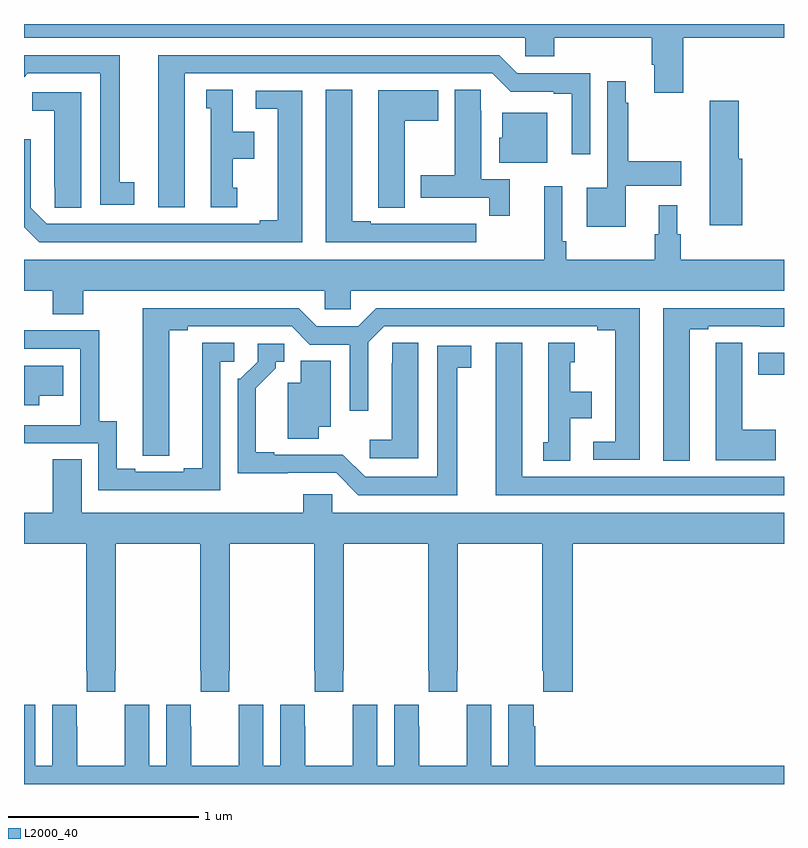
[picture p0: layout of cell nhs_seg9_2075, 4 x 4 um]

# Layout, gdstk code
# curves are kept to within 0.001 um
import gdstk
lib = gdstk.Library(unit=1e-6, precision=1e-09)
def R(c, l, rs):  # rectangles x0, y0, x1, y1
    for r in rs: c.add(gdstk.rectangle(r[:2], r[2:], *l))
def P(c, l, *ps):  # polygons
    for p in ps: c.add(gdstk.Polygon(p, *l))
L2000_40 = (2000, 40)

nhs_seg9_2075 = lib.new_cell('nhs_seg9_2075')
R(nhs_seg9_2075, L2000_40, [(232.865,1186.654,233,1186.77)])
P(nhs_seg9_2075, L2000_40, [(232.469,1188.428),(233,1188.428),(233,1188.5),(229,1188.5),(229,1188.428),(231.639,1188.428),(231.639,1188.33),(231.791,1188.33),(231.791,1188.428),(232.304,1188.428),(232.304,1188.286),(232.316,1188.286),(232.316,1188.138),(232.469,1188.138)],
  [(229.846,1188.24),(231.465,1188.24),(231.561,1188.144),(231.788,1188.144),(231.788,1188.132),(231.884,1188.132),(231.884,1187.814),(231.981,1187.814),(231.981,1188.24),(231.597,1188.24),(231.501,1188.336),(229.706,1188.336),(229.706,1187.535),(229.846,1187.535)],
  [(229.579,1187.666),(229.504,1187.666),(229.504,1188.336),(229,1188.336),(229,1188.22),(229.02,1188.24),(229.4,1188.24),(229.4,1187.55),(229.579,1187.55)],
  [(232.168,1187.648),(232.459,1187.648),(232.459,1187.778),(232.18,1187.778),(232.18,1188.086),(232.168,1188.086),(232.168,1188.199),(232.071,1188.199),(232.071,1187.638),(231.962,1187.638),(231.962,1187.432),(232.168,1187.432)],
  [(230.122,1187.637),(230.098,1187.637),(230.098,1187.792),(230.212,1187.792),(230.212,1187.932),(230.098,1187.932),(230.098,1188.155),(229.958,1188.155),(229.958,1188.057),(229.982,1188.057),(229.982,1187.535),(230.122,1187.535)],
  [(231.379,1187.448),(231.266,1187.448),(231.266,1187.449),(231.1,1187.449),(231.1,1187.448),(230.824,1187.448),(230.824,1187.463),(230.728,1187.463),(230.728,1188.155),(230.588,1188.155),(230.588,1187.352),(231.379,1187.352)],
  [(231.557,1187.682),(231.406,1187.682),(231.406,1188.044),(231.405,1188.044),(231.405,1188.155),(231.266,1188.155),(231.266,1187.703),(231.089,1187.703),(231.089,1187.586),(231.448,1187.586),(231.448,1187.49),(231.557,1187.49)],
  [(231.004,1187.992),(231.181,1187.992),(231.181,1188.151),(230.864,1188.151),(230.864,1187.641),(230.865,1187.641),(230.865,1187.533),(231.004,1187.533)],
  [(230.464,1188.15),(230.22,1188.15),(230.22,1188.054),(230.336,1188.054),(230.336,1187.468),(230.24,1187.468),(230.24,1187.448),(229.119,1187.448),(229.035,1187.532),(229.035,1187.893),(229,1187.893),(229,1187.431),(229.079,1187.352),(230.464,1187.352)],
  [(229.3,1188.141),(229.044,1188.141),(229.044,1188.044),(229.16,1188.044),(229.16,1187.641),(229.161,1187.641),(229.161,1187.533),(229.3,1187.533)],
  [(232.781,1187.79),(232.763,1187.79),(232.763,1188.097),(232.609,1188.097),(232.609,1187.79),(232.61,1187.79),(232.61,1187.442),(232.781,1187.442)],
  [(231.754,1188.034),(231.518,1188.034),(231.518,1187.901),(231.5,1187.901),(231.5,1187.771),(231.754,1187.771)],
  [(229.311,1187.096),(230.583,1187.096),(230.583,1186.998),(230.721,1186.998),(230.721,1187.096),(233,1187.096),(233,1187.26),(232.457,1187.26),(232.457,1187.394),(232.438,1187.394),(232.438,1187.545),(232.34,1187.545),(232.34,1187.394),(232.321,1187.394),(232.321,1187.26),(231.854,1187.26),(231.854,1187.356),(231.834,1187.356),(231.834,1187.647),(231.737,1187.647),(231.737,1187.26),(229,1187.26),(229,1187.096),(229.151,1187.096),(229.151,1186.972),(229.311,1186.972)],
  [(232.504,1186.893),(232.6,1186.893),(232.6,1186.908),(232.876,1186.908),(232.876,1186.907),(233,1186.907),(233,1187.004),(232.364,1187.004),(232.364,1186.201),(232.504,1186.201)],
  [(232.24,1187.004),(230.855,1187.004),(230.759,1186.908),(230.541,1186.908),(230.445,1187.004),(229.625,1187.004),(229.626,1186.228),(229.765,1186.228),(229.765,1186.888),(229.861,1186.888),(229.861,1186.908),(230.409,1186.908),(230.505,1186.812),(230.715,1186.812),(230.715,1186.464),(230.811,1186.464),(230.811,1186.824),(230.895,1186.908),(232.016,1186.908),(232.016,1186.888),(232.112,1186.888),(232.112,1186.302),(231.996,1186.302),(231.996,1186.206),(232.24,1186.206)],
  [(230.034,1186.722),(230.107,1186.722),(230.107,1186.823),(229.937,1186.823),(229.937,1186.163),(229.841,1186.163),(229.841,1186.143),(229.585,1186.143),(229.585,1186.158),(229.489,1186.158),(229.489,1186.409),(229.395,1186.409),(229.395,1186.887),(229,1186.887),(229,1186.791),(229.296,1186.791),(229.296,1186.39),(229.295,1186.39),(229.295,1186.389),(229,1186.389),(229,1186.293),(229.392,1186.293),(229.392,1186.047),(230.034,1186.047)],
  [(232.957,1186.365),(232.78,1186.365),(232.78,1186.823),(232.641,1186.823),(232.641,1186.715),(232.64,1186.715),(232.64,1186.205),(232.957,1186.205)],
  [(231.076,1186.823),(230.937,1186.823),(230.937,1186.715),(230.936,1186.715),(230.936,1186.312),(230.82,1186.312),(230.82,1186.215),(231.076,1186.215)],
  [(231.874,1186.424),(231.988,1186.424),(231.988,1186.564),(231.874,1186.564),(231.874,1186.719),(231.898,1186.719),(231.898,1186.822),(231.758,1186.822),(231.758,1186.299),(231.734,1186.299),(231.734,1186.201),(231.874,1186.201)],
  [(233,1186.116),(231.622,1186.116),(231.622,1186.822),(231.482,1186.822),(231.482,1186.02),(233,1186.02)],
  [(231.28,1186.69),(231.355,1186.69),(231.355,1186.806),(231.176,1186.806),(231.176,1186.116),(230.796,1186.116),(230.678,1186.234),(230.317,1186.233),(230.317,1186.246),(230.221,1186.246),(230.221,1186.582),(230.326,1186.687),(230.326,1186.722),(230.371,1186.722),(230.371,1186.818),(230.229,1186.818),(230.229,1186.722),(230.139,1186.632),(230.124,1186.632),(230.124,1186.136),(230.643,1186.137),(230.76,1186.02),(231.28,1186.02)],
  [(230.551,1186.379),(230.614,1186.379),(230.614,1186.727),(230.456,1186.727),(230.456,1186.612),(230.387,1186.612),(230.387,1186.318),(230.551,1186.318)],
  [(229.081,1186.544),(229.207,1186.544),(229.207,1186.702),(229,1186.702),(229,1186.493),(229.081,1186.493)],
  [(229.479,1185.097),(229.482,1185.097),(229.482,1185.764),(229.927,1185.764),(229.927,1185.097),(229.929,1185.097),(229.929,1184.985),(230.079,1184.985),(230.079,1185.097),(230.082,1185.097),(230.082,1185.764),(230.527,1185.764),(230.527,1185.097),(230.529,1185.097),(230.529,1184.985),(230.679,1184.985),(230.679,1185.097),(230.682,1185.097),(230.682,1185.764),(231.127,1185.764),(231.127,1185.097),(231.129,1185.097),(231.129,1184.985),(231.279,1184.985),(231.279,1185.097),(231.282,1185.097),(231.282,1185.764),(231.727,1185.764),(231.727,1185.097),(231.733,1185.097),(231.733,1184.985),(231.887,1184.985),(231.887,1185.764),(233,1185.764),(233,1185.928),(230.622,1185.928),(230.622,1186.026),(230.471,1186.026),(230.471,1185.928),(229.303,1185.928),(229.303,1186.208),(229.151,1186.208),(229.151,1185.928),(229,1185.928),(229,1185.764),(229.327,1185.764),(229.327,1185.097),(229.329,1185.097),(229.329,1184.985),(229.479,1184.985)],
  [(233,1184.596),(231.692,1184.596),(231.692,1184.804),(231.682,1184.804),(231.682,1184.917),(231.548,1184.917),(231.548,1184.596),(231.46,1184.596),(231.46,1184.917),(231.33,1184.917),(231.33,1184.804),(231.329,1184.804),(231.329,1184.596),(231.079,1184.596),(231.079,1184.804),(231.078,1184.804),(231.078,1184.917),(230.948,1184.917),(230.948,1184.596),(230.86,1184.596),(230.86,1184.917),(230.73,1184.917),(230.73,1184.804),(230.729,1184.804),(230.729,1184.596),(230.479,1184.596),(230.479,1184.804),(230.478,1184.804),(230.478,1184.917),(230.348,1184.917),(230.348,1184.596),(230.26,1184.596),(230.26,1184.917),(230.13,1184.917),(230.13,1184.804),(230.129,1184.804),(230.129,1184.596),(229.879,1184.596),(229.879,1184.804),(229.878,1184.804),(229.878,1184.917),(229.748,1184.917),(229.748,1184.596),(229.66,1184.596),(229.66,1184.917),(229.53,1184.917),(229.53,1184.804),(229.529,1184.804),(229.529,1184.596),(229.279,1184.596),(229.279,1184.804),(229.278,1184.804),(229.278,1184.917),(229.148,1184.917),(229.148,1184.596),(229.06,1184.596),(229.06,1184.917),(229,1184.917),(229,1184.5),(233,1184.5)])

lib.write_gds('nhs_seg9_2075.gds')
